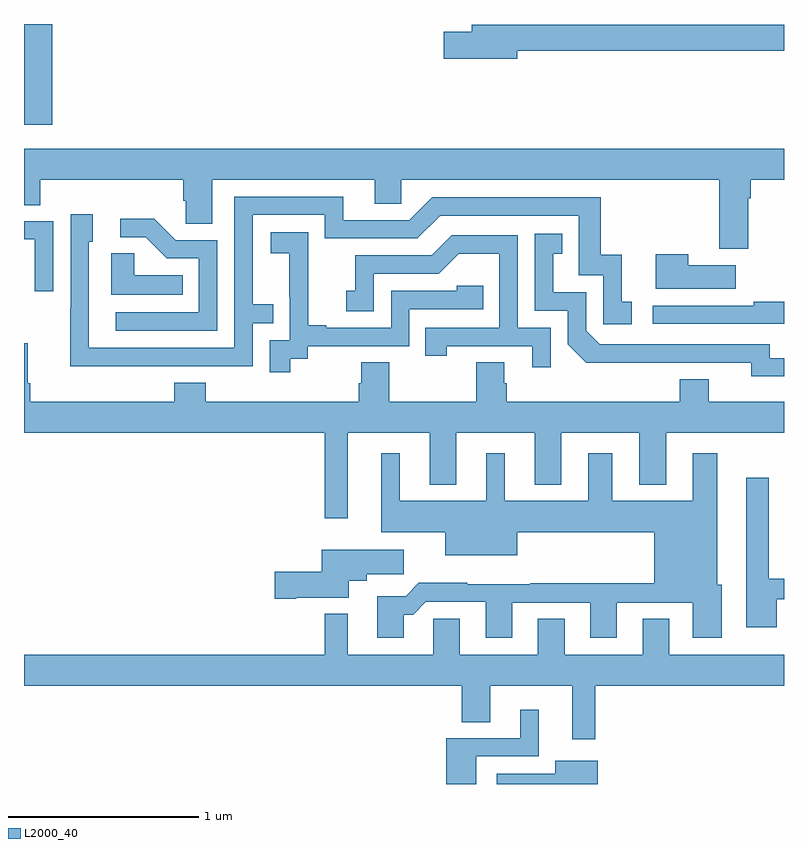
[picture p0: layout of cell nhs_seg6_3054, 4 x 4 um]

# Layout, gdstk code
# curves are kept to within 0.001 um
import gdstk
lib = gdstk.Library(unit=1e-6, precision=1e-09)
def R(c, l, rs):  # rectangles x0, y0, x1, y1
    for r in rs: c.add(gdstk.rectangle(r[:2], r[2:], *l))
def P(c, l, *ps):  # polygons
    for p in ps: c.add(gdstk.Polygon(p, *l))
L2000_40 = (2000, 40)

nhs_seg6_3054 = lib.new_cell('nhs_seg6_3054')
R(nhs_seg6_3054, L2000_40, [(291.002,936.969,291.149,937.5)])
P(nhs_seg6_3054, L2000_40, [(293.596,937.36),(295,937.36),(295,937.496),(293.357,937.496),(293.357,937.46),(293.208,937.46),(293.208,937.318),(293.596,937.318)],
  [(291,936.547),(291.086,936.547),(291.086,936.68),(291.839,936.68),(291.839,936.571),(291.852,936.571),(291.852,936.448),(291.991,936.448),(291.991,936.68),(292.847,936.68),(292.847,936.553),(292.986,936.553),(292.986,936.68),(294.659,936.68),(294.659,936.318),(294.811,936.318),(294.811,936.584),(294.824,936.584),(294.824,936.68),(295,936.68),(295,936.844),(291,936.844)],
  [(291.707,935.7),(292.203,935.7),(292.203,935.925),(292.313,935.925),(292.313,936.026),(292.203,936.026),(292.203,936.495),(292.584,936.495),(292.584,936.372),(293.07,936.372),(293.19,936.492),(293.919,936.492),(293.919,936.177),(294.048,936.177),(294.048,935.919),(294.199,935.919),(294.199,936.039),(294.146,936.039),(294.146,936.286),(294.035,936.286),(294.035,936.588),(293.148,936.588),(293.028,936.468),(292.681,936.468),(292.681,936.591),(292.107,936.591),(292.107,935.796),(291.342,935.796),(291.342,936.354),(291.361,936.354),(291.361,936.499),(291.246,936.499),(291.246,936.005),(291.244,936.005),(291.244,935.699)],
  [(292.017,936.363),(291.798,936.363),(291.685,936.476),(291.507,936.476),(291.507,936.378),(291.641,936.378),(291.752,936.267),(291.921,936.267),(291.921,935.982),(291.483,935.982),(291.483,935.886),(292.017,935.886)],
  [(291.153,936.462),(291,936.462),(291,936.366),(291.057,936.366),(291.057,936.093),(291.153,936.093)],
  [(292.402,935.737),(292.494,935.737),(292.494,935.805),(293.028,935.805),(293.028,936),(293.417,936),(293.417,936.123),(293.277,936.123),(293.277,936.096),(292.932,936.096),(292.932,935.901),(292.591,935.901),(292.591,935.914),(292.496,935.914),(292.496,936.197),(292.497,936.197),(292.497,936.403),(292.299,936.403),(292.299,936.293),(292.397,936.293),(292.397,936.065),(292.398,936.065),(292.398,935.835),(292.293,935.835),(292.293,935.667),(292.402,935.667)],
  [(295,935.742),(294.924,935.742),(294.924,935.814),(294.03,935.814),(293.958,935.886),(293.958,936.087),(293.785,936.087),(293.785,936.291),(293.834,936.291),(293.834,936.397),(293.688,936.397),(293.688,935.991),(293.862,935.991),(293.862,935.814),(293.96,935.717),(294.828,935.718),(294.828,935.645),(295,935.645)],
  [(293.772,935.901),(293.598,935.901),(293.598,936.387),(293.252,936.387),(293.147,936.282),(292.744,936.282),(292.744,936.097),(292.695,936.097),(292.695,935.988),(292.842,935.988),(292.842,936.186),(293.184,936.186),(293.288,936.29),(293.502,936.29),(293.502,935.901),(293.113,935.901),(293.113,935.754),(293.224,935.754),(293.224,935.805),(293.675,935.805),(293.675,935.694),(293.772,935.694)],
  [(291.836,936.178),(291.579,936.178),(291.579,936.293),(291.458,936.293),(291.458,936.074),(291.836,936.074)],
  [(294.745,936.229),(294.497,936.229),(294.497,936.289),(294.326,936.289),(294.326,936.107),(294.745,936.107)],
  [(295,936.038),(294.841,936.038),(294.841,936.018),(294.309,936.018),(294.309,935.922),(295,935.922)],
  [(293.54,935.61),(293.527,935.61),(293.527,935.72),(293.38,935.72),(293.38,935.512),(292.923,935.512),(292.923,935.72),(292.775,935.72),(292.775,935.61),(292.763,935.61),(292.763,935.512),(291.956,935.512),(291.956,935.611),(291.791,935.611),(291.791,935.512),(291.032,935.512),(291.032,935.608),(291.019,935.608),(291.019,935.821),(291,935.821),(291,935.348),(292.584,935.348),(292.584,934.899),(292.705,934.899),(292.705,935.348),(293.135,935.348),(293.135,935.075),(293.275,935.075),(293.275,935.348),(293.687,935.348),(293.687,935.075),(293.827,935.075),(293.827,935.348),(294.239,935.348),(294.239,935.075),(294.379,935.075),(294.379,935.348),(295,935.348),(295,935.512),(294.604,935.512),(294.604,935.629),(294.452,935.629),(294.452,935.512),(293.54,935.512)],
  [(292.999,934.391),(293.048,934.391),(293.115,934.458),(293.429,934.458),(293.429,934.269),(293.569,934.269),(293.569,934.455),(293.981,934.455),(293.981,934.269),(294.121,934.269),(294.121,934.455),(294.521,934.455),(294.521,934.269),(294.673,934.269),(294.673,934.548),(294.649,934.548),(294.649,935.242),(294.521,935.242),(294.521,934.99),(294.097,934.99),(294.097,935.242),(293.969,935.242),(293.969,934.99),(293.53,934.99),(293.53,935.242),(293.432,935.242),(293.432,934.99),(292.978,934.99),(292.978,935.242),(292.88,935.242),(292.88,934.826),(293.216,934.826),(293.216,934.703),(293.596,934.703),(293.596,934.826),(294.317,934.826),(294.317,934.556),(293.665,934.556),(293.665,934.552),(293.333,934.552),(293.333,934.559),(293.078,934.559),(293.008,934.489),(292.859,934.489),(292.859,934.269),(292.999,934.269)],
  [(294.961,934.473),(295,934.473),(295,934.581),(294.919,934.581),(294.919,935.113),(294.8,935.113),(294.8,934.326),(294.961,934.326)],
  [(292.432,934.481),(292.708,934.481),(292.708,934.571),(292.804,934.571),(292.804,934.603),(292.999,934.603),(292.999,934.732),(292.568,934.732),(292.568,934.616),(292.32,934.616),(292.32,934.474),(292.432,934.474)],
  [(294.007,934.016),(295,934.016),(295,934.18),(294.397,934.18),(294.397,934.37),(294.257,934.37),(294.257,934.18),(293.845,934.18),(293.845,934.37),(293.705,934.37),(293.705,934.18),(293.293,934.18),(293.293,934.37),(293.154,934.37),(293.154,934.18),(292.705,934.18),(292.705,934.396),(292.584,934.396),(292.584,934.18),(291,934.18),(291,934.016),(293.303,934.016),(293.303,933.826),(293.455,933.826),(293.455,934.016),(293.885,934.016),(293.885,933.735),(294.007,933.735)],
  [(293.38,933.645),(293.71,933.645),(293.71,933.892),(293.612,933.892),(293.612,933.741),(293.222,933.741),(293.222,933.5),(293.38,933.5)],
  [(294.021,933.622),(293.795,933.622),(293.795,933.555),(293.487,933.555),(293.487,933.5),(294.021,933.5)])

lib.write_gds('nhs_seg6_3054.gds')
